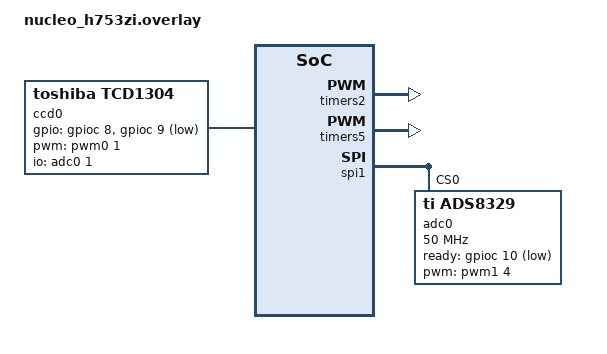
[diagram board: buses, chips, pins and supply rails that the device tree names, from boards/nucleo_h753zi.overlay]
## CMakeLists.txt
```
cmake_minimum_required(VERSION 3.20)

set(CMAKE_EXPORT_COMPILE_COMMANDS ON)

#list(APPEND ZEPHYR_EXTRA_MODULES ${CMAKE_CURRENT_SOURCE_DIR}/..)

find_package(Zephyr REQUIRED)
project(spectro-app)

add_subdirectory(src)
```

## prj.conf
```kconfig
CONFIG_ASSERT=y
CONFIG_ASSERT_VERBOSE=y
CONFIG_SENSOR=y

CONFIG_PINCTRL=y
CONFIG_SPI=y
CONFIG_GPIO=y
CONFIG_USB_DEVICE_STACK_NEXT=y

###########
#From defconfig
CONFIG_USBD_CDC_ACM_CLASS=y

CONFIG_SERIAL=y
CONFIG_UART_LINE_CTRL=y

#CONFIG_STDOUT_CONSOLE=n
#CONFIG_CONSOLE=n
#CONFIG_UART_CONSOLE=n
##########################
CONFIG_SHELL=n
CONFIG_SHELL_BACKENDS=y
CONFIG_SHELL_LOG_BACKEND=y
CONFIG_SHELL_BACKEND_SERIAL=y
CONFIG_SHELL_BACKEND_SERIAL_INTERRUPT_DRIVEN=y
CONFIG_LOG_BACKEND_UART=y

CONFIG_DEBUG=y
CONFIG_NO_OPTIMIZATIONS=n
CONFIG_LOG=y
CONFIG_LOG_DEFAULT_LEVEL=3
CONFIG_MPU_LOG_LEVEL_INF=n
CONFIG_KERNEL_LOG_LEVEL_INF=n
CONFIG_SPI_LOG_LEVEL_DBG=n

CONFIG_IDLE_STACK_SIZE=1024

#CONFIG_LOG_PROCESS_THREAD_STACK_SIZE=20000

CONFIG_DMA=y
CONFIG_DMA_STM32=y

CONFIG_SENSOR=y
CONFIG_SENSOR_SHELL=n
CONFIG_SENSOR_ASYNC_API=y
CONFIG_RTIO=y

CONFIG_USBD_LOG_LEVEL_DBG=n
CONFIG_UDC_DRIVER_LOG_LEVEL_DBG=n

CONFIG_LOG_BUFFER_SIZE=2048

CONFIG_SPI_RTIO=y

CONFIG_SPI_STM32_DMA=y
CONFIG_SPI_STM32_INTERRUPT=n
CONFIG_SPI_ASYNC=n

CONFIG_DCACHE=n

CONFIG_LIGHT=y

CONFIG_RTIO_WORKQ_THREADS_POOL=2
CONFIG_RTIO_WORKQ_POOL_ITEMS=8
```

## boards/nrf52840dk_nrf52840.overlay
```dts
/ {
    chosen {
        sesimo,usb = &zephyr_udc0;
        sesimo,bofp1 = &bofp1;
    };
};

&spi1 {
    clock-frequency = <18000000>;

    bofp1: bofp1@0 {
        status = "okay";
        compatible = "sesimo,bofp1";
        reg = <0>;
        spi-max-frequency = <18000000>;
        prescaler = <20>;
        clkdiv = <7>;
        busy-gpios = <&gpio1 0 GPIO_ACTIVE_HIGH>;
        fifo-wmark-gpios = <&gpio1 1 GPIO_ACTIVE_HIGH>;
    };
};
```

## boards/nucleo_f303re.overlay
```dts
#include <dt-bindings/dma/stm32_dma.h>

/ {
    chosen {
        sesimo,bofp1 = <&bofp1>;
    };
};

&spi1 {
    status = "okay";
    cs-gpios = <&gpioa 8 GPIO_ACTIVE_LOW>;
    pinctrl-0 = <&spi1_sck_pa5 &spi1_sck_pb3 &spi1_mosi_pa7 &spi1_miso_pa6>;
    pinctrl-names = "default";
    clock-frequency = <18000000>;

    bofp1: bofp1@0 {
        status = "okay";
        compatible = "sesimo,bofp1";
        reg = <0>;
        spi-max-frequency = <18000000>;
        prescaler = <20>;
        clkdiv = <7>;
    };
};

&dma1 {
    status = "okay";
};

&usart2 {
    dmas = <&dma1 7 STM32_DMA_PERIPH_TX>, <&dma1 6 STM32_DMA_PERIPH_RX>;
    dma-names = "tx", "rx";
};
```

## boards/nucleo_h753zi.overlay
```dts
/ {
    ccd0 {
        compatible = "toshiba,tcd1304";
        status = "okay";
        sampling-rate = <400000>;
        pwms = <&pwm0 1 PWM_NSEC(2500) PWM_POLARITY_NORMAL>;
        pwm-names = "clock";
        gpios = <&gpioc 8 GPIO_ACTIVE_HIGH>, <&gpioc 9 GPIO_ACTIVE_LOW>;
        io-channels = <&adc0 1>;
    };
};

&timers2 {
    status = "okay";
    st,prescaler = <0>;

    pwm0: pwm {
        status = "okay";

        pinctrl-0 = <&tim2_ch1_pa0>;
        pinctrl-names = "default";
    };
};

&timers5 {
    status = "okay";

    pwm1: pwm {
        status = "okay";

        pinctrl-0 = <&tim5_ch4_pa3>;
        pinctrl-names = "default";
    };
};

&spi1 {
    status = "okay";

    adc0: adc@0 {
        status = "okay";
        compatible = "ti,ads8329";
        reg = <0>;
        #io-channel-cells = <1>;
        spi-max-frequency = <50000000>;
        pwms = <&pwm1 4 PWM_NSEC(2500) PWM_POLARITY_NORMAL>;
        pwm-names = "timer";
        ready-gpios = <&gpioc 10 GPIO_ACTIVE_LOW>;
    };
};
```

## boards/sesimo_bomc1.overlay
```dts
/ {
    chosen {
        sesimo,bofp1 = &bofp1;
        sesimo,usb = &zephyr_udc0;
        zephyr,log-uart = &log_uarts;
    };

    log_uarts: log_uarts {
        compatible = "zephyr,log-uart";
        uarts = <&cdc_acm_uart0 &uart4>;
    };
};

&spi1 {
	status = "okay";

    bofp1: bofp1@0 {
        status = "okay";
        compatible = "sesimo,bofp1";
        reg = <0>;
        spi-max-frequency = <12000000>;
        clkdiv = <125>;
        busy-gpios = <&gpioc 5 (GPIO_ACTIVE_HIGH | GPIO_PULL_DOWN)>;
        fifo-wmark-gpios = <&gpioc 4 (GPIO_ACTIVE_HIGH | GPIO_PULL_DOWN)>;
        integration-time = <600000>;
    };
};

&cdc_acm_uart0 {
    status = "okay";
};
```

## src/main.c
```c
#include <zephyr/kernel.h>
#include <zephyr/logging/log.h>

#include "usb/usb.h"

LOG_MODULE_REGISTER(app);

int main(void)
{
        int status;

        status = bomc1_usb_init();
        if (status != 0) {
                LOG_ERR("usb init failed: %i", status);
                return status;
        }

        return 0;
};
```

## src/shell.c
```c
#include <zephyr/shell/shell.h>
#include <zephyr/drivers/sensor.h>
#include <zephyr/drivers/uart.h>

SENSOR_DT_READ_IODEV(ccd_iodev, DT_NODELABEL(bofp1));
RTIO_DEFINE(rtio_ctx, 1, 1);

static uint16_t buf[4096];

static const struct device *transport =
        DEVICE_DT_GET(DT_CHOSEN(sesimo_transport));

static int cmd_ccd_sample(const struct shell *sh, size_t argc, char **argv)
{
        ARG_UNUSED(argc);
        ARG_UNUSED(argv);

        shell_print(sh, "Sampling CCD");

        return sensor_read(&ccd_iodev, &rtio_ctx, (uint8_t *)buf, sizeof(buf));
}

static int cmd_ccd_conf_set(const struct shell *sh, size_t argc, char **argv)
{
        shell_print(sh, "Count: %zu", argc);

        if (argc < 2) {
                shell_print(sh, "Usage: set <name> <value>");
                return -EINVAL;
        }

        return 0;
}

static int cmd_ccd_get(const struct shell *sh, size_t argc, char **argv)
{
        if (argc < 1) {
                shell_print(sh, "Usage: get <index>");
                return -EINVAL;
        }

        int index = atoi(argv[1]);
        shell_print(sh, "Value: %i", (int)buf[index]);

        return 0;
}

static int cmd_ccd_forward(const struct shell *sh, size_t argc, char **argv)
{
        int status;

        ARG_UNUSED(argc);
        ARG_UNUSED(argv);

        shell_print(sh, "Forwarding over USB/UART");

        status = uart_tx(transport, (uint8_t *)buf, sizeof(uint16_t) * 3694,
                         SYS_FOREVER_US);
        if (status != 0) {
                shell_print(sh, "Error forwarding: %i", status);
        }

        return status;
}

/* clang-format off */
SHELL_STATIC_SUBCMD_SET_CREATE(
        ccd_shell,
        SHELL_CMD(sample, NULL, "Execute a sample", cmd_ccd_sample),
        SHELL_CMD(set, NULL, "Set a config value", cmd_ccd_conf_set),
        SHELL_CMD(get, NULL, "Get value", cmd_ccd_get),
        SHELL_CMD(forward, NULL, "Forward reading to host", cmd_ccd_forward),
        SHELL_SUBCMD_SET_END
);
/* clang-format on */

SHELL_CMD_REGISTER(ccd, &ccd_shell, "CCD commands", NULL);
```

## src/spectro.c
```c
#include <zephyr/device.h>
#include <zephyr/kernel.h>
#include <zephyr/logging/log.h>
#include <zephyr/drivers/sensor.h>
#include <zephyr/sys/byteorder.h>

#include <drivers/sensor/bofp1.h>

#include "spectro.h"

#define SPECTRO_DEV DT_CHOSEN(sesimo_bofp1)

LOG_MODULE_REGISTER(spectro, LOG_LEVEL_DBG);

static uint16_t spectro_buf[3694];

static const struct device *dev = DEVICE_DT_GET(SPECTRO_DEV);

SENSOR_DT_READ_IODEV(iodev, SPECTRO_DEV);
RTIO_DEFINE(rtio_ctx, 1, 1);

struct spectro_q_entry {
        spectro_data_rdy_cb cb;
        void *user_arg;
};

static const enum sensor_channel channel =
        (enum sensor_channel)SENSOR_CHAN_BOFP1_INTENSITY;
static struct sensor_decode_context decode_ctx =
        SENSOR_DECODE_CONTEXT_INIT(NULL, (uint8_t *)spectro_buf, channel, 0);

K_MUTEX_DEFINE(lock);

K_MSGQ_DEFINE(msgq, sizeof(struct spectro_q_entry), 2, 1);

/** @brief Converts the scale from Q format */
static uint16_t convert_scale(q31_t q, uint8_t shift)
{
        return (uint16_t)(((int64_t)q << shift) / (1ULL << 31));
}

int spectro_stream_read(void *buf_arg, size_t size_arg, size_t *real_size)
{
        int status;
        uint8_t *buf;
        uint16_t frames;
        size_t size;
        size_t base_size;
        size_t frame_size;
        uint16_t value;
        struct sensor_q31_data data;

        buf = buf_arg;
        size = size_arg;

        (void)k_mutex_lock(&lock, K_FOREVER);

        __ASSERT_NO_MSG(decode_ctx.decoder != NULL);

        status = decode_ctx.decoder->get_frame_count(
                decode_ctx.buffer, decode_ctx.channel, &frames);
        if (status != 0) {
                goto exit;
        }

        status = decode_ctx.decoder->get_size_info(decode_ctx.channel,
                                                   &base_size, &frame_size);
        if (status != 0) {
                goto exit;
        }

        while (size >= sizeof(uint16_t) && decode_ctx.fit < frames) {
                status = sensor_decode(&decode_ctx, &data, 1);
                if (status <= 0) {
                        /* Checking if empty in the loop condition, so this
                         * should not return 0. */
                        if (status == 0) {
                                status = -ENODATA;
                        }
                        goto exit;
                }

                value = convert_scale(data.readings[0].value, data.shift);
                sys_put_le16(value, buf);

                size -= sizeof(uint16_t);
                buf += sizeof(uint16_t);
        }

        *real_size = size_arg - size;

exit:
        (void)k_mutex_unlock(&lock);

        if (status < 0) {
                LOG_WRN("TODO: decode");
                status = 0;
                return status;
        }

        return decode_ctx.fit < frames;
}

int spectro_sample(spectro_data_rdy_cb cb, void *user_arg)
{
        struct spectro_q_entry entry = {
                .cb = cb,
                .user_arg = user_arg,
        };

        if (!device_is_ready(dev)) {
                LOG_ERR("spectrometer driver not initialized");
                return -EBUSY;
        }

        return k_msgq_put(&msgq, &entry, K_NO_WAIT);
}

uint32_t spectro_get_int_time(void)
{
        struct sensor_value val;

        (void)sensor_attr_get(
                dev, channel,
                (enum sensor_attribute)SENSOR_ATTR_BOFP1_INTEGRATION, &val);

        return val.val1 / 1000;
}

int spectro_set_int_time(uint32_t int_us)
{
        int status;
        struct sensor_value val;

        (void)k_mutex_lock(&lock, K_FOREVER);

        val.val1 = int_us * 1000;
        status = sensor_attr_set(
                dev, channel,
                (enum sensor_attribute)SENSOR_ATTR_BOFP1_INTEGRATION, &val);

        (void)k_mutex_unlock(&lock);

        return status;
}

int spectro_set_pipeline_ctrl(uint8_t dc, uint8_t totavg, uint8_t movavg)
{
        int status;
        struct {
                enum sensor_attr_bofp1 attr;
                uint8_t val;
        } values[] = {
                {SENSOR_ATTR_BOFP1_DARK_CURRENT_ENA, dc},
                {SENSOR_ATTR_BOFP1_TOTAL_AVG_ENA, totavg},
                {SENSOR_ATTR_BOFP1_MOVING_AVG_ENA, movavg},
        };
        size_t i;
        struct sensor_value sensor_val;

        (void)k_mutex_lock(&lock, K_FOREVER);

        for (i = 0; i < ARRAY_SIZE(values); i++) {
                sensor_val.val1 = values[i].val;
                status = sensor_attr_set(dev, channel,
                                         (enum sensor_attribute)values[i].attr,
                                         &sensor_val);
                if (status != 0) {
                        break;
                }
        }

        (void)k_mutex_unlock(&lock);

        return status;
}

int spectro_set_moving_avg_n(uint8_t n)
{
        int status;
        struct sensor_value val;
        val.val1 = n;

        (void)k_mutex_lock(&lock, K_FOREVER);

        status = sensor_attr_set(
                dev, channel,
                (enum sensor_attribute)SENSOR_ATTR_BOFP1_MOVING_AVG_N, &val);

        (void)k_mutex_unlock(&lock);

        return status;
}

int spectro_set_total_avg_n(uint8_t n)
{
        int status;
        struct sensor_value val;
        val.val1 = n;

        (void)k_mutex_lock(&lock, K_FOREVER);

        status = sensor_attr_set(
                dev, channel,
                (enum sensor_attribute)SENSOR_ATTR_BOFP1_TOTAL_AVG_N, &val);

        (void)k_mutex_unlock(&lock);

        return status;
}

static void aq_thread(void *p1, void *p2, void *p3)
{
        int status;
        struct spectro_q_entry entry;

        for (;;) {
                (void)k_msgq_get(&msgq, &entry, K_FOREVER);
                LOG_DBG("acquiring sample");

                (void)k_mutex_lock(&lock, K_FOREVER);

                status = sensor_get_decoder(dev, &decode_ctx.decoder);
                __ASSERT_NO_MSG(status == 0);

                /* Reset frame iterator */
                decode_ctx.fit = 0;

                status = sensor_read(&iodev, &rtio_ctx, (uint8_t *)spectro_buf,
                                     sizeof(spectro_buf));
                (void)k_mutex_unlock(&lock);

                if (status != 0) {
                        LOG_ERR("read failed: %i", status);
                        continue;
                }

                LOG_DBG("sample completed");
                entry.cb(entry.user_arg);
        }
}

K_THREAD_DEFINE(aq_thread_handle, 512, aq_thread, NULL, NULL, NULL,
                CONFIG_SYSTEM_WORKQUEUE_PRIORITY + 1, 0, 0);
```

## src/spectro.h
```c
#ifndef SPECTRO_H__
#define SPECTRO_H__

#include <zephyr/kernel.h>

typedef void (*spectro_data_rdy_cb)(void *user_arg);

/**
 * @brief Sample from the spectrometer
 *
 * @param cb Callback to be invoked when data is ready
 * @param user_arg Argument passed to callback
 * @return int
 */
int spectro_sample(spectro_data_rdy_cb cb, void *user_arg);

/**
 * @brief Read a chunk of the most recent sample into @p buf
 *
 * @param buf
 * @param size
 * @param real_size Actual size read into @p buf
 * @return int
 * @retval 0 Readout complete
 * @retval 1 More data available
 * @retval <0 Error occured
 */
int spectro_stream_read(void *buf, size_t size, size_t *real_size);

/**
 * @brief Get current integration time
 *
 * @return uint32_t Integration time in microseconds
 */
uint32_t spectro_get_int_time(void);

/**
 * @brief Set integration time
 *
 * @param int_us Integration time in microseconds
 * @return int
 * @retval 0 Success
 * @retval <0 Negative errno code
 */
int spectro_set_int_time(uint32_t int_us);

/**
 * @brief Set ctrl parameters for pipeline
 *
 * The arguments @p dc, @p totavg and @p movavg control whether or not the
 * respective pipeline stage is skipped or not.
 *
 * @param dc false to skip dark current stage, true if not
 * @param totavg false to skip total average stage, true if not
 * @param movavg false to skip movavg stage, true if not
 * @return int
 * @retval 0 Success
 * @retval <0 Negative errno code
 */
int spectro_set_pipeline_ctrl(uint8_t dc, uint8_t totavg, uint8_t movavg);

/**
 * @brief Set number of neighbours to include in a moving average algorithm 
 *
 * @param n
 * @return int
 * @retval 0 Success
 * @retval <0 Negative errno code
 */
int spectro_set_moving_avg_n(uint8_t n);

/**
 * @brief Set number of samples to average
 *
 * @param n
 * @return int
 * @retval 0 Success
 * @retval <0 Negative errno code
 */
int spectro_set_total_avg_n(uint8_t n);

#endif /* SPECTRO_H__ */
```
